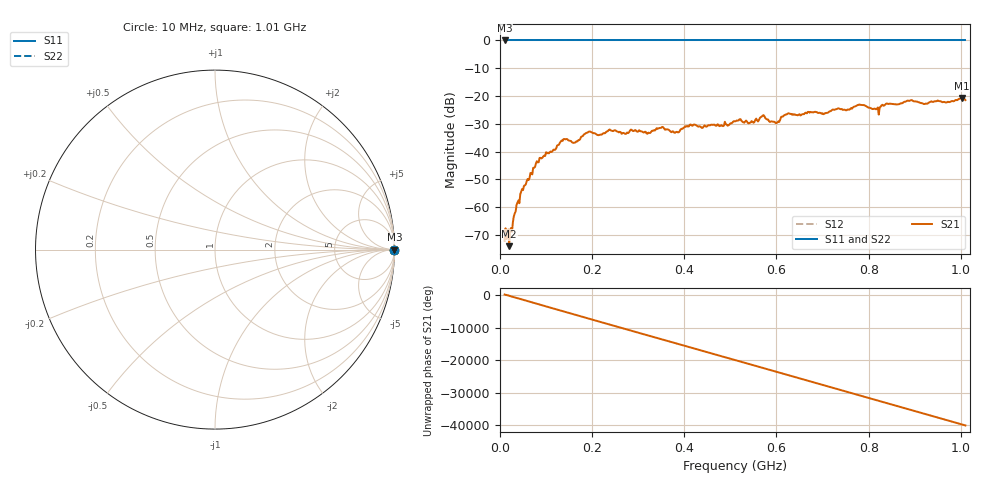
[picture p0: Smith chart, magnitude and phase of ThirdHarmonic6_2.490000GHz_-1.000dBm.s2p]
! 8/17/2025 4:42:28 AM
! C:\ANRITSUVNA\TEMP\TEMP.S2P
! CHANNEL.1
! TR.MEASUREMENT
! RAW.DATA
! RF.CORRECTION.OFF
! AVERAGING.OFF
! IF.BANDWIDTH: 5KHZ
! SWEEPTYPE:  FREQ.SWEEP(Linear)
! Reference Plane Port Info
! PORT:  PORT1  PORT2
! DISTANCE:  0  m  0  m
! TIME:  0  s  0  s
! PHASE.OFFSET:  0  deg.  0  deg.
! LOSS:  0  dB  0  dB
! REF.LOSS:  0  dB  0  dB
! REF.FREQ:  0  Hz  0  Hz
! Power Info
! POWER:  -20  dBm  -20  dBm
! EFF.POWER:  -20  dBm  -20  dBm
! SOURCE.ATTEN:  0  dB  0  dB
! TEST.ATTEN:  0  dB  0  dB
# GHZ S RI R 50.0
! FREQ.GHZ  S11RE  S11IM  S21RE  S21IM  S12RE  S12IM  S22RE  S22IM
!; PortSelection: Port_12
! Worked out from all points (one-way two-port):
!   501 points, 10 MHz to 1.01 GHz, reference 50 ohm
!   highest |S21| = -20.71 dB at 1.002 GHz (marker M1); lowest = -74.0 dB at 20 MHz (marker M2)
!   lowest |S11| = 0.0 dB at 10 MHz (marker M3)
!   |S11| at or under -10 dB: nowhere
!   |S22| runs from 0.0 to 0.0 dB; largest |S21 - S12| = 1.1
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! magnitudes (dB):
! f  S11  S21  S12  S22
! 10 MHz  0.0  -71.9  0.0  0.0
! 20 MHz  0.0  -74.0  0.0  0.0
! 24 MHz  0.0  -67.5  0.0  0.0
! 48 MHz  0.0  -53.5  0.0  0.0
! 82 MHz  0.0  -43.9  0.0  0.0
! 136 MHz  0.0  -36.1  0.0  0.0
! 160 MHz  0.0  -36.9  0.0  0.0
! 178 MHz  0.0  -34.5  0.0  0.0
! 344 MHz  0.0  -31.7  0.0  0.0
! 384 MHz  0.0  -32.9  0.0  0.0
! 416 MHz  0.0  -30.6  0.0  0.0
! 510 MHz  0.0  -29.1  0.0  0.0
! 542 MHz  0.0  -29.6  0.0  0.0
! 570 MHz  0.0  -27.1  0.0  0.0
! 602 MHz  0.0  -29.5  0.0  0.0
! 624 MHz  0.0  -26.4  0.0  0.0
! 678 MHz  0.0  -25.8  0.0  0.0
! 780 MHz  0.0  -23.0  0.0  0.0
! 818 MHz  0.0  -24.6  0.0  0.0
! 844 MHz  0.0  -22.8  0.0  0.0
! 1.002 GHz  0.0  -20.7  0.0  0.0
! 1.01 GHz  0.0  -21.5  0.0  0.0
